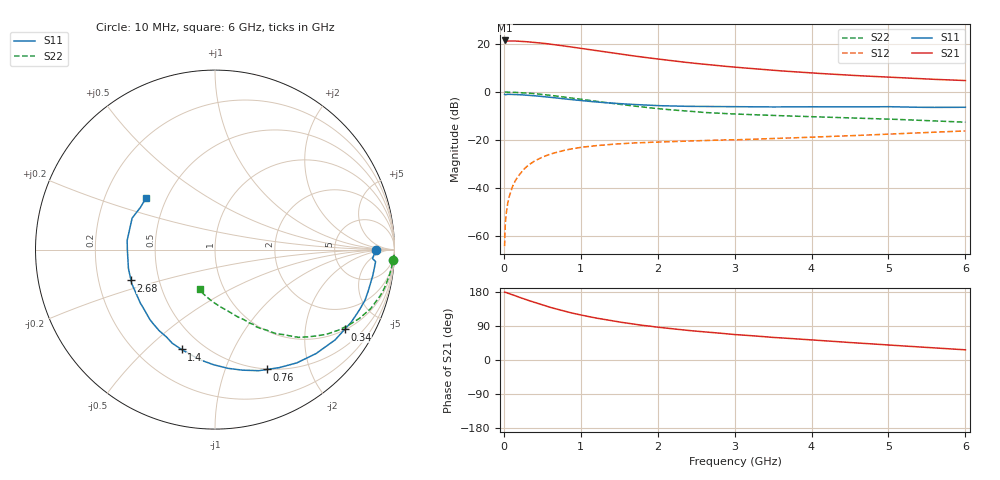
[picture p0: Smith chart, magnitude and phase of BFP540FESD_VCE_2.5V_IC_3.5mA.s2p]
! Infineon Technologies  Discrete & RF Semiconductors
! BFP540FESD
! VCE =  2.5 V,  IC =  3.5 mA
! Common Emitter S-Parameters:  Nov 2015
# GHz  S  MA  R  50
!  f  S11  S21  S12  S22
! GHz  MAG  ANG  MAG  ANG  MAG  ANG  MAG  ANG
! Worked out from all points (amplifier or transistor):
!   210 points, 10 MHz to 6 GHz, reference 50 ohm
!   highest |S21| = 21.6 dB at 10 MHz (marker M1)
!   |S21| within 3 dB of that: start of sweep to 933.3 MHz
!   unconditionally stable (mu >= 1): 2.994 GHz to end of sweep
!   at 185 MHz: K = 0.05, MSG = 28.3 dB, |S12| = -35.3 dB
!   at 1.52 GHz: K = 0.51, MSG = 18.7 dB, |S12| = -21.6 dB
!   at 6 GHz: K = 1.39, MAG = 6.8 dB, |S12| = -16.3 dB
!   S11 on the Smith chart (normalised r, x): 10 MHz: 18, -0; 340 MHz: 1.02, -3.24; 760 MHz: 0.49, -1.40; 1.4 GHz: 0.38, -0.65; 2.68 GHz: 0.34, -0.16; 6 GHz: 0.39, +0.29
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0.01  0.8973 -0.1  11.97 178.9  0.0006 82.5  0.9948 -3.4
0.02  0.8788 -3.2  11.53 178.7  0.0018 81.3  1 -1.3
0.045  0.8943 -4.1  11.64 176.9  0.0042 83.5  0.9932 -2.5
0.08  0.8932 -7.1  11.64 174.4  0.0074 84.3  0.99 -4.3
0.15  0.8849 -14.7  11.65 169.5  0.0141 81.7  0.9833 -8.0
0.2  0.8821 -18.7  11.5 165.6  0.0185 80.5  0.9742 -10.7
0.34  0.8484 -31.6  11.11 155.9  0.0311 73.1  0.9429 -17.8
0.5  0.8079 -45.8  10.55 145.3  0.0434 67.2  0.8919 -25.4
0.6  0.7784 -54.2  10.03 139.0  0.0502 61.8  0.8555 -29.5
0.76  0.7278 -66.6  9.289 130.5  0.0589 56.3  0.7946 -35.7
0.9  0.6892 -77.1  8.632 123.2  0.0656 52.1  0.742 -40.4
1.02  0.6602 -85.0  8.086 118.1  0.0704 49.1  0.7007 -44.0
1.2  0.6206 -97.3  7.316 110.7  0.0757 44.8  0.6404 -48.8
1.4  0.5868 -108.5  6.596 103.7  0.0808 41.4  0.5816 -53.8
1.72  0.5466 -125.4  5.609 93.8  0.0864 37.0  0.5034 -60.3
2.02  0.5186 -138.6  4.876 86.1  0.0902 34.9  0.4477 -65.2
2.4  0.502 -152.0  4.115 77.9  0.0941 32.7  0.3997 -70.8
2.68  0.4984 -159.8  3.702 73.0  0.0977 32.0  0.3685 -75.1
3.1  0.4911 -169.9  3.214 65.9  0.1014 31.5  0.3425 -79.6
4.1  0.4908 172.4  2.45 51.6  0.1154 31.3  0.3014 -89.4
5.1  0.4898 157.5  2.009 38.3  0.1341 29.8  0.2684 -99.7
6  0.4801 143.0  1.738 26.9  0.1537 27.3  0.2344 -111.0
